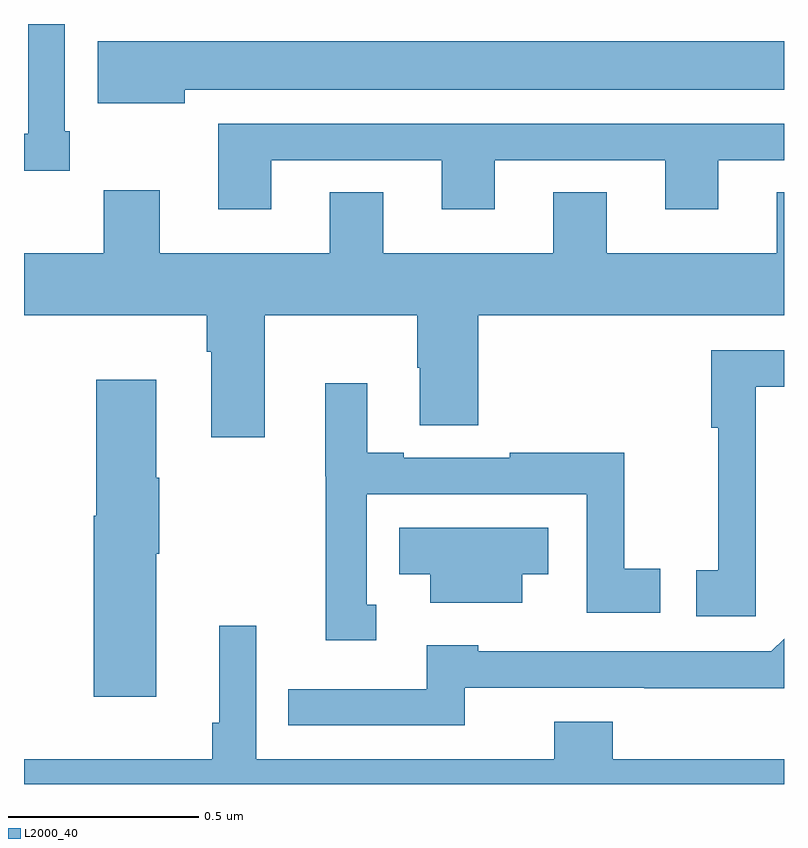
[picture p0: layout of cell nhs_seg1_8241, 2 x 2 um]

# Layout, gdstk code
import gdstk
lib = gdstk.Library(unit=1e-6, precision=1e-09)
def P(c, l, *ps):  # polygons
    for p in ps: c.add(gdstk.Polygon(p, *l))
L2000_40 = (2000, 40)

nhs_seg1_8241 = lib.new_cell('nhs_seg1_8241')
P(nhs_seg1_8241, L2000_40, [(214.12,518.917),(214.107,518.917),(214.107,519.199),(214.011,519.199),(214.011,518.91),(214,518.91),(214,518.813),(214.12,518.813)],
  [(214.423,519.026),(216,519.026),(216,519.154),(214.194,519.154),(214.194,518.99),(214.423,518.99)],
  [(214.651,518.841),(215.099,518.841),(215.099,518.712),(215.239,518.712),(215.239,518.841),(215.687,518.841),(215.687,518.712),(215.827,518.712),(215.827,518.841),(216,518.841),(216,518.937),(214.511,518.937),(214.511,518.712),(214.651,518.712)],
  [(214.633,518.432),(215.035,518.432),(215.035,518.294),(215.042,518.294),(215.042,518.143),(215.195,518.143),(215.195,518.432),(216,518.432),(216,518.756),(215.981,518.756),(215.981,518.596),(215.533,518.596),(215.533,518.756),(215.393,518.756),(215.393,518.596),(214.945,518.596),(214.945,518.756),(214.805,518.756),(214.805,518.596),(214.357,518.596),(214.357,518.761),(214.21,518.761),(214.21,518.596),(214,518.596),(214,518.432),(214.481,518.432),(214.481,518.336),(214.493,518.336),(214.493,518.112),(214.633,518.112)],
  [(215.926,517.916),(215.925,517.916),(215.925,518.244),(216,518.244),(216,518.34),(215.809,518.34),(215.809,518.137),(215.827,518.137),(215.827,517.761),(215.769,517.761),(215.769,517.641),(215.926,517.641)],
  [(214.348,517.805),(214.356,517.805),(214.356,518.005),(214.348,518.005),(214.348,518.263),(214.19,518.263),(214.19,517.905),(214.184,517.905),(214.184,517.428),(214.348,517.428)],
  [(214.927,517.671),(214.902,517.671),(214.902,517.962),(215.481,517.962),(215.481,517.65),(215.674,517.65),(215.674,517.766),(215.58,517.766),(215.58,518.071),(215.278,518.071),(215.278,518.058),(214.999,518.058),(214.999,518.071),(214.903,518.071),(214.903,518.254),(214.793,518.254),(214.793,518.009),(214.794,518.009),(214.794,517.577),(214.927,517.577)],
  [(215.311,517.751),(215.38,517.751),(215.38,517.873),(214.987,517.873),(214.987,517.751),(215.069,517.751),(215.069,517.676),(215.311,517.676)],
  [(216,517.264),(215.549,517.264),(215.549,517.363),(215.396,517.363),(215.396,517.264),(214.611,517.264),(214.611,517.615),(214.514,517.615),(214.514,517.36),(214.495,517.36),(214.495,517.264),(214,517.264),(214,517.199),(216,517.199)],
  [(215.16,517.452),(215.632,517.452),(215.632,517.451),(216,517.451),(216,517.581),(215.967,517.548),(215.196,517.548),(215.196,517.564),(215.06,517.564),(215.06,517.449),(214.696,517.449),(214.696,517.353),(215.16,517.353)])

lib.write_gds('nhs_seg1_8241.gds')
